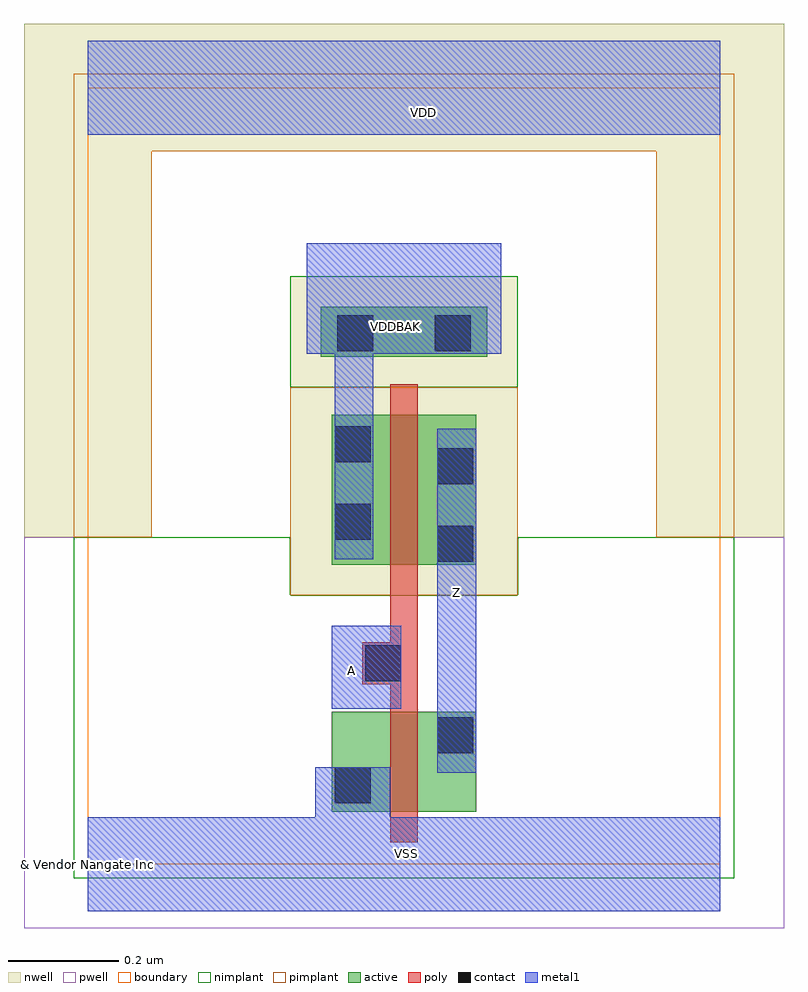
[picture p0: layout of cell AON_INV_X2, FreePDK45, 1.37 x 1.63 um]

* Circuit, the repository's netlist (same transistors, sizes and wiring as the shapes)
* 
* ******************************************************************************
* *                                                                            *
* *                   Copyright (C) 2004-2011, Nangate Inc.                    *
* *                           All rights reserved.                             *
* *                                                                            *
* * Nangate and the Nangate logo are trademarks of Nangate Inc.                *
* *                                                                            *
* * All trademarks, logos, software marks, and trade names (collectively the   *
* * "Marks") in this program are proprietary to Nangate or other respective    *
* * owners that have granted Nangate the right and license to use such Marks.  *
* * You are not permitted to use the Marks without the prior written consent   *
* * of Nangate or such third party that may own the Marks.                     *
* *                                                                            *
* * This file has been provided pursuant to a License Agreement containing     *
* * restrictions on its use. This file contains valuable trade secrets and     *
* * proprietary information of Nangate Inc., and is protected by U.S. and      *
* * international laws and/or treaties.                                        *
* *                                                                            *
* * The copyright notice(s) in this file does not indicate actual or intended  *
* * publication of this file.                                                  *
* *                                                                            *
* *     NGLibraryCreator, v2010.08-HR32-SP3-2010-08-05 - build 1009061800      *
* *                                                                            *
* ******************************************************************************
* 
* 
* Running on server08.nangate.com for user Giancarlo Franciscatto (gfr).
* Local time is now Thu, 6 Jan 2011, 19:45:43.
* Main process id is 3320.
*
********************************************************************************
*                                                                              *
* Cellname:   AON_INV_X2.                                                      *
*                                                                              *
* Technology: NCSU FreePDK 45nm.                                               *
* Format:     Cdl.                                                             *
*                                                                              *
* Written on server08.nangate.com for user Giancarlo Franciscatto (gfr)        *
* at 19:45:43 on Thu, 6 Jan 2011.                                              *
*                                                                              *
********************************************************************************
.SUBCKT AON_INV_X2 A Z VDD VDDBAK VSS 
*.PININFO A:I Z:O VDD:P VDDBAK:P VSS:G 
*.EQN Z=!A
M_i_0 Z A VSS VSS NMOS_VTL W=0.180000U L=0.050000U
M_i_7 Z A VDDBAK VDDBAK PMOS_VTL W=0.270000U L=0.050000U
.ENDS 

********************************************************************************
*
* END
*
********************************************************************************

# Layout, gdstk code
import gdstk
lib = gdstk.Library(unit=1e-6, precision=1e-10)
def R(c, l, rs):  # rectangles x0, y0, x1, y1
    for r in rs: c.add(gdstk.rectangle(r[:2], r[2:], *l))
def P(c, l, *ps):  # polygons
    for p in ps: c.add(gdstk.Polygon(p, *l))
active = (1, 0)
pwell = (2, 0)
nwell = (3, 0)
nimplant = (4, 0)
pimplant = (5, 0)
poly = (9, 0)
contact = (10, 0)
metal1 = (11, 0)
boundary = (235, 0)

aon_inv_x2 = lib.new_cell('AON_INV_X2')
R(aon_inv_x2, active, [(0.44,0.095,0.7,0.275), (0.44,0.54,0.7,0.81), (0.42,0.915,0.72,1.005)])
P(aon_inv_x2, pwell, [(-0.115,-0.115),(1.255,-0.115),(1.255,0.59),(0.775,0.59),(0.775,0.485),(0.365,0.485),(0.365,0.59),(-0.115,0.59)])
R(aon_inv_x2, nwell, [(0.365,0.485,0.775,1.06)])
P(aon_inv_x2, nwell, [(-0.115,0.59),(0.115,0.59),(0.115,1.285),(1.025,1.285),(1.025,0.59),(1.255,0.59),(1.255,1.515),(-0.115,1.515)])
R(aon_inv_x2, nimplant, [(0.365,0.86,0.775,1.06)])
P(aon_inv_x2, nimplant, [(-0.025,-0.025),(1.165,-0.025),(1.165,0.59),(0.775,0.59),(0.775,0.485),(0.365,0.485),(0.365,0.59),(-0.025,0.59)])
R(aon_inv_x2, pimplant, [(0.365,0.485,0.775,0.86)])
P(aon_inv_x2, pimplant, [(-0.025,0.59),(0.115,0.59),(0.115,1.285),(1.025,1.285),(1.025,0.59),(1.165,0.59),(1.165,1.425),(-0.025,1.425)])
P(aon_inv_x2, poly, [(0.495,0.325),(0.545,0.325),(0.545,0.04),(0.595,0.04),(0.595,0.865),(0.545,0.865),(0.545,0.4),(0.495,0.4)])
R(aon_inv_x2, contact, [(0.445,0.11,0.51,0.175), (0.63,0.2,0.695,0.265), (0.5,0.33,0.565,0.395), (0.63,0.545,0.695,0.61), (0.445,0.585,0.51,0.65), (0.63,0.685,0.695,0.75), (0.445,0.725,0.51,0.79), (0.45,0.925,0.515,0.99), (0.625,0.925,0.69,0.99)])
R(aon_inv_x2, metal1, [(0.63,0.165,0.7,0.785), (0.44,0.28,0.565,0.43), (0,1.315,1.14,1.485)])
P(aon_inv_x2, metal1, [(0.395,0.92),(0.445,0.92),(0.445,0.55),(0.515,0.55),(0.515,0.92),(0.745,0.92),(0.745,1.12),(0.395,1.12)],
  [(0,-0.085),(1.14,-0.085),(1.14,0.085),(0.545,0.085),(0.545,0.175),(0.41,0.175),(0.41,0.085),(0,0.085)])
R(aon_inv_x2, boundary, [(0,0,1.14,1.4)])
aon_inv_x2.add(gdstk.Label('Z', (0.665,0.49), layer=11, texttype=0))
aon_inv_x2.add(gdstk.Label('A', (0.475,0.35), layer=11, texttype=0))
aon_inv_x2.add(gdstk.Label('VDDBAK', (0.555,0.97), layer=11, texttype=0))
aon_inv_x2.add(gdstk.Label('VDD', (0.605,1.355), layer=11, texttype=0))
aon_inv_x2.add(gdstk.Label('VSS', (0.575,0.02), layer=11, texttype=0))
aon_inv_x2.add(gdstk.Label('& Vendor Nangate Inc', (0,0), layer=63, texttype=63))
aon_inv_x2.add(gdstk.Label('& Product Open Cell Library', (0,0), layer=63, texttype=63))
aon_inv_x2.add(gdstk.Label('& Version 2010_12', (0,0), layer=63, texttype=63))
aon_inv_x2.add(gdstk.Label('& Instance AON_INV_X2', (0,0), layer=63, texttype=63))

lib.write_gds('AON_INV_X2.gds')
